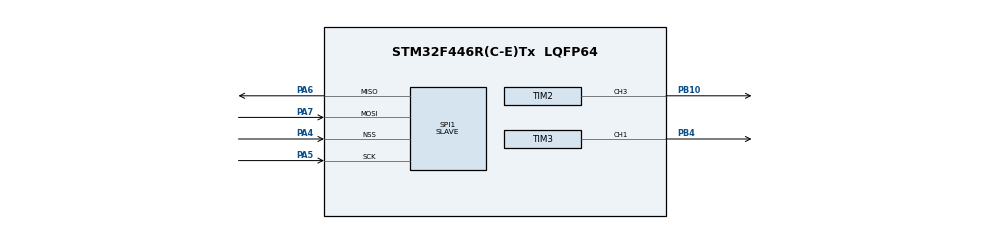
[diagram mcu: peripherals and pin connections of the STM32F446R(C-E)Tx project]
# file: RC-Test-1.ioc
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Mcu.Family=STM32F4
Mcu.Name=STM32F446R(C-E)Tx
Mcu.Package=LQFP64
NVIC.PriorityGroup=NVIC_PRIORITYGROUP_4
NVIC.SPI1_IRQn=true\:0\:0\:false\:false\:true\:true\:true\:true
PA4.Mode=NSS_Signal_Hard_Input
PA4.Signal=SPI1_NSS
PA5.Mode=Full_Duplex_Slave
PA5.Signal=SPI1_SCK
PA6.Mode=Full_Duplex_Slave
PA6.Signal=SPI1_MISO
PA7.Mode=Full_Duplex_Slave
PA7.Signal=SPI1_MOSI
PB10.Signal=S_TIM2_CH3
PB4.Signal=S_TIM3_CH1
ProjectManager.HeapSize=0x200
ProjectManager.StackSize=0x400
ProjectManager.TargetToolchain=STM32CubeIDE
RCC.CortexFreq_Value=16000000
RCC.USBFreq_Value=96000000
RCC.VCOOutputFreq_Value=192000000
SH.S_TIM2_CH3.0=TIM2_CH3,PWM Generation3 CH3
SH.S_TIM3_CH1.0=TIM3_CH1,PWM Generation1 CH1
SPI1.Direction=SPI_DIRECTION_2LINES
SPI1.Mode=SPI_MODE_SLAVE
SPI1.VirtualNSS=VM_NSSHARD
SPI1.VirtualType=VM_SLAVE
TIM2.Channel-PWM\ Generation3\ CH3=TIM_CHANNEL_3
TIM2.Period=19999
TIM2.Prescaler=15
TIM2.Pulse-PWM\ Generation3\ CH3=1555
TIM3.Channel-PWM\ Generation1\ CH1=TIM_CHANNEL_1
TIM3.Period=19999
TIM3.Prescaler=15
TIM3.Pulse-PWM\ Generation1\ CH1=1515
VP_TIM2_VS_ClockSourceINT.Mode=Internal
VP_TIM3_VS_ClockSourceINT.Mode=Internal
board=custom

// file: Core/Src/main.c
/* USER CODE BEGIN Header */
/**
  ******************************************************************************
  * @file           : main.c
  * @brief          : Main program body
  ******************************************************************************
  * @attention
  *
  * Copyright (c) 2026 STMicroelectronics.
  * All rights reserved.
  *
  * This software is licensed under terms that can be found in the LICENSE file
  * in the root directory of this software component.
  * If no LICENSE file comes with this software, it is provided AS-IS.
  *
  ******************************************************************************
  */
/* USER CODE END Header */
#include "main.h"
#include "spi.h"
#include "tim.h"
#include "gpio.h"

/* USER CODE BEGIN Includes */
#include <stdio.h>
#include <string.h>
/* USER CODE END Includes */

/* USER CODE BEGIN PTD */

/*--------------------------------------------------------------------------------------*/
typedef struct Data {
	float d_target;
	float d_current;
} Data;
/*--------------------------------------------------------------------------------------*/

/* USER CODE END PTD */

/* USER CODE BEGIN PD */

/*--------------------------------------------------------------------------------------*/
//Right
#define r_max 1999
//Center
#define center 1555
//Left
#define l_max 1111

//Forward - Medium speed
#define f_med 1545
//Fast speed
#define f_max 1605
//Stop
#define stop 1515
//Reverse < 1515
#define rev 1425
/*--------------------------------------------------------------------------------------*/

/* USER CODE END PD */

/* USER CODE BEGIN PV */

/*--------------------------------------------------------------------------------------*/
static uint8_t tx[4];
static uint8_t rx[4];
static volatile uint8_t spi_done = 0;

static Data s_data = {(float)stop, (float)stop};
/*--------------------------------------------------------------------------------------*/

/* USER CODE END PV */

/* USER CODE BEGIN PFP */
/*--------------------------------------------------------------------------------------*/

void SystemClock_Config(void);
void P_DIddy(volatile Data *session_data);
void Servo_SetPWM(float pulse_us);
void ESC_SetPWM(float pulse_us);

/*--------------------------------------------------------------------------------------*/
/* USER CODE END PFP */

int main(void)
{

  /* MCU Configuration--------------------------------------------------------*/

  /* Reset of all peripherals, Initializes the Flash interface and the Systick. */
  HAL_Init();

  /* Configure the system clock */
  SystemClock_Config();

  /* Initialize all configured peripherals */
  MX_GPIO_Init();
  MX_TIM2_Init();
  MX_TIM3_Init();
  MX_SPI1_Init();
  /* USER CODE BEGIN 2 */

  /*--------------------------------------------------------------------------------------*/

  //Start timer and clear PWM cycle flag, set up SPI to active via interrupts, expect 4 bytes
  HAL_TIM_PWM_Start(&htim3, TIM_CHANNEL_1);
  __HAL_TIM_CLEAR_FLAG(&htim3, TIM_FLAG_UPDATE);
  float initial_reply = s_data.d_current;
  memcpy(tx, &initial_reply, sizeof initial_reply);
  HAL_SPI_TransmitReceive_IT(&hspi1, tx, rx, 4);

  /*--------------------------------------------------------------------------------------*/

  /* USER CODE END 2 */

  /* Infinite loop */
  /* USER CODE BEGIN WHILE */
  while (1)
  {
  /*--------------------------------------------------------------------------------------*/
	  if(spi_done) {
		  spi_done = 0;
		  float new_target;
		  memcpy(&new_target, rx, sizeof new_target);

		  if (new_target == rev || new_target == stop || new_target == f_med || new_target == f_max) s_data.d_target = new_target;
		  float reply = s_data.d_current;
		  memcpy(tx, &reply, sizeof reply);

		  HAL_SPI_TransmitReceive_IT(&hspi1, tx, rx, 4);
	  }

	  if (__HAL_TIM_GET_FLAG(&htim3, TIM_FLAG_UPDATE)) {
	  	  __HAL_TIM_CLEAR_FLAG(&htim3, TIM_FLAG_UPDATE);
	  	  P_DIddy(&s_data);  // Exactly one call per observed period
	  }

  /*--------------------------------------------------------------------------------------*/

    /* USER CODE END WHILE */

  }
}

void SystemClock_Config(void)
{
  RCC_OscInitTypeDef RCC_OscInitStruct = {0};
  RCC_ClkInitTypeDef RCC_ClkInitStruct = {0};

  /** Configure the main internal regulator output voltage
  */
  __HAL_RCC_PWR_CLK_ENABLE();
  __HAL_PWR_VOLTAGESCALING_CONFIG(PWR_REGULATOR_VOLTAGE_SCALE3);

  /** Initializes the RCC Oscillators according to the specified parameters
  * in the RCC_OscInitTypeDef structure.
  */
  RCC_OscInitStruct.OscillatorType = RCC_OSCILLATORTYPE_HSI;
  RCC_OscInitStruct.HSIState = RCC_HSI_ON;
  RCC_OscInitStruct.HSICalibrationValue = RCC_HSICALIBRATION_DEFAULT;
  RCC_OscInitStruct.PLL.PLLState = RCC_PLL_NONE;
  if (HAL_RCC_OscConfig(&RCC_OscInitStruct) != HAL_OK)
  {
    Error_Handler();
  }

  /** Initializes the CPU, AHB and APB buses clocks
  */
  RCC_ClkInitStruct.ClockType = RCC_CLOCKTYPE_HCLK|RCC_CLOCKTYPE_SYSCLK
                              |RCC_CLOCKTYPE_PCLK1|RCC_CLOCKTYPE_PCLK2;
  RCC_ClkInitStruct.SYSCLKSource = RCC_SYSCLKSOURCE_HSI;
  RCC_ClkInitStruct.AHBCLKDivider = RCC_SYSCLK_DIV1;
  RCC_ClkInitStruct.APB1CLKDivider = RCC_HCLK_DIV1;
  RCC_ClkInitStruct.APB2CLKDivider = RCC_HCLK_DIV1;

  if (HAL_RCC_ClockConfig(&RCC_ClkInitStruct, FLASH_LATENCY_0) != HAL_OK)
  {
    Error_Handler();
  }
}

/* USER CODE BEGIN 4 */

  /*--------------------------------------------------------------------------------------*/
  //Invoked by the HAL after a 4 byte interrupt completes, needs to be global
  void HAL_SPI_TxRxCpltCallback(SPI_HandleTypeDef *hspi)
  {
      if (hspi->Instance == SPI1) {
          spi_done = 1;  // All four bytes have been exchanged.
      }
  }

  //Pure motor example
  void P_DIddy(volatile Data *session_data) {
	  float error = session_data->d_target - session_data->d_current;
	  if (error == 0) return;
	  if(error > 0) {
		  session_data->d_current+=30;
		  ESC_SetPWM(session_data->d_current);
	  }
	  else {
		  session_data->d_current-=30;
		  ESC_SetPWM(session_data->d_current);
	  }
  }

  void Servo_SetPWM(float pulse_us)
  {
      // Limit to measured servo range
      if (pulse_us < 1111)
          pulse_us = 1111;

      if (pulse_us > 1999)
          pulse_us = 1999;

      __HAL_TIM_SET_COMPARE(&htim2, TIM_CHANNEL_3, pulse_us);
  }

  void ESC_SetPWM(float pulse_us)
  {
      // Clamp to measured ESC range
      if (pulse_us < 999)
          pulse_us = 999;

      if (pulse_us > 1999)
          pulse_us = 1999;

      __HAL_TIM_SET_COMPARE(&htim3, TIM_CHANNEL_1, pulse_us);
  }
  /*--------------------------------------------------------------------------------------*/

/* USER CODE END 4 */

void Error_Handler(void)
{
  __disable_irq();
  while (1)
  {
  }
}
